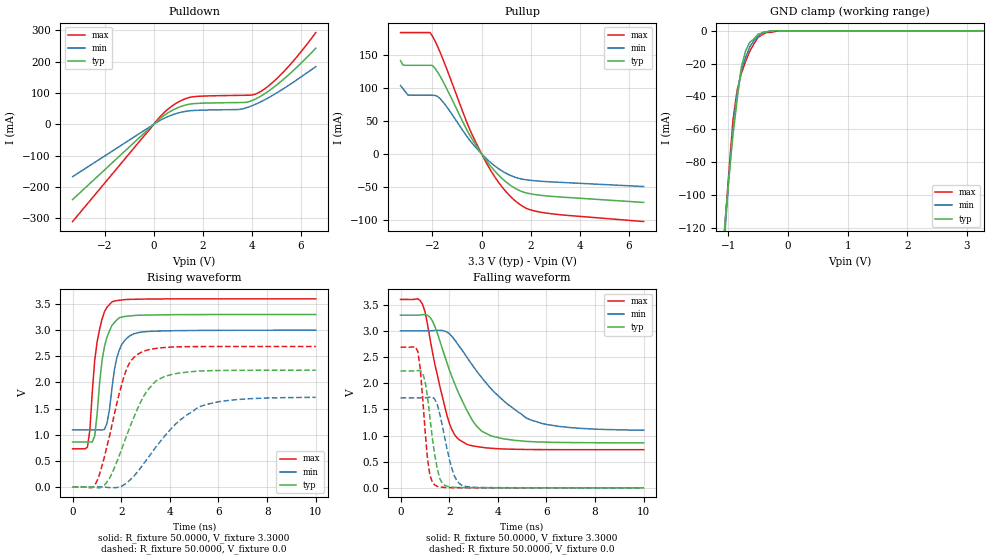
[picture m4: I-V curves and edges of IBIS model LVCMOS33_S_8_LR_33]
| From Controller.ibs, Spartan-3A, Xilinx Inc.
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|   Model LVCMOS33_S_8_LR_33
[Model]  LVCMOS33_S_8_LR_33
Model_type I/O
Polarity   Non-Inverting
Enable   Active-Low
Vinl =   0.8000V
Vinh =   2.0000V
Vmeas =  1.6500V
Cref =   0.0F
Rref =   1.0000M
Vref =   0.0V
C_comp   6.5640pF   6.1748pF   7.0674pF
[Temperature Range]   27.0000   85.0000   0.0
[Voltage Range]   3.3000V   3.0000V   3.6000V
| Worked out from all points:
|   slope of the pulldown table from 0 to 0.495 V, typ, clamps not added: 15.3 ohm
|   slope of the pullup table from 0 to 0.495 V, typ, clamps not added: 20.3 ohm
|   GND clamp passes 1 mA (typ) near -0.38 V on its own axis
|   rising waveform, R_fixture 50.0000, V_fixture 3.3000: 20-80 % time 385ps typ, 406ps min, 374ps max; typ from 0.86 V to 3.3 V
|   rising waveform, R_fixture 50.0000, V_fixture 0.0: 20-80 % time 1.2ns typ, 1.92ns min, 853ps max; typ from 0 V to 2.23 V
|   falling waveform, R_fixture 50.0000, V_fixture 3.3000: 20-80 % time 1.27ns typ, 2.2ns min, 816ps max; typ from 3.3 V to 0.86 V
|   falling waveform, R_fixture 50.0000, V_fixture 0.0: 20-80 % time 384ps typ, 495ps min, 280ps max; typ from 2.23 V to 0 V
[Pulldown]
|Voltage   I(typ)   I(min)   I(max)
-3.3V     -240.1mA   -167.1mA   -310.4mA
200mV     14.57mA    9.891mA    19.24mA
700mV     42.25mA    28.64mA    55.8mA
1.2V      59.52mA    40.02mA    78.9mA
1.6V      65.99mA    44.18mA    88.04mA
3.5V      69.7mA     47.88mA    92.59mA
3.9V      72.94mA    56.35mA    93.18mA
4.3V      87.34mA    69.76mA    102.4mA
4.8V      113.2mA    90.68mA    130.9mA
5.3V      144.7mA    114.7mA    168.6mA
5.9V      187.8mA    146mA      222.2mA
6.6V      243.2mA    184.3mA    293.1mA
[Pullup]
|Voltage   I(typ)   I(min)   I(max)
-3.3V     140.7mA    103.2mA    183.2mA
-3.2V     134.1mA    98.39mA    183.2mA
-3V       133.8mA    88.85mA    183.2mA
-2.1V     133.8mA    88.49mA    183.2mA
-2V       133.4mA    88.49mA    177.9mA
-1.6V     111.3mA    79.64mA    145.4mA
-600mV    36.16mA    26.33mA    47.45mA
0V        14pA       70pA       10pA
700mV     -32.61mA   -22.77mA   -43.62mA
1.5V      -54.81mA   -37.04mA   -75.06mA
2.6V      -63.56mA   -42.02mA   -89.51mA
6.6V      -73.58mA   -49.56mA   -102.5mA
[GND_clamp]
|Voltage   I(typ)   I(min)   I(max)
-3.3V     -1.34A     -1.43A     -1.52A
-1.06V    -119.5mA   -126.2mA   -121mA
-990mV    -90.2mA    -89.8mA    -86.5mA
-920mV    -63.3mA    -60mA      -54.4mA
-850mV    -41.9mA    -37.7mA    -36mA
-780mV    -22mA      -24mA      -25.9mA
-710mV    -12.3mA    -16.3mA    -18.8mA
-640mV    -7mA       -9.8mA     -12.5mA
-500mV    -2mA       -3.5mA     -4mA
-430mV    -1.4mA     -1mA       -2.3mA
-150mV    0A         0A         0A
3.28V     0A         0A         0A
[POWER_clamp]
|Voltage   I(typ)   I(min)   I(max)
-3.28V    0A         0A         0A
-3.24V    0A         0A         0A
-3.2V     0A         0A         0A
0V        0A         0A         0A
[Ramp]
dV/dt_r  1.3404/1.1915n   1.0284/1.9009n   1.6128/0.8427n
dV/dt_f  1.4639/1.2618n   1.1394/2.1789n   1.7227/0.8061n
R_load = 50.0000
[Rising Waveform]
R_fixture= 50.0000
V_fixture= 3.3000
V_fixture_min= 3.0000
V_fixture_max= 3.6000
|time   V(typ)   V(min)   V(max)
0s        859.8mV    1.092V     729.2mV
610ps     859.8mV    1.092V     760mV
710ps     858.4mV    1.092V     1.087V
910ps     975.1mV    1.092V     2.427V
1.21ns    2.42V      1.088V     3.211V
1.41ns    2.86V      1.21V      3.437V
1.62ns    3.092V     1.895V     3.542V
1.92ns    3.238V     2.619V     3.572V
2.53ns    3.279V     2.932V     3.591V
10ns      3.299V     2.999V     3.599V
[Rising Waveform]
R_fixture= 50.0000
V_fixture= 0.0
|time   V(typ)   V(min)   V(max)
0s        0V         0V         0V
810ps     -2.595mV   -2.067uV   -12.98mV
1.01ns    -16.56mV   4.842uV    120.3mV
1.52ns    168.8mV    -12.87mV   977.7mV
2.12ns    853mV      41.92mV    2.124V
2.42ns    1.224V     158.9mV    2.426V
2.73ns    1.559V     323mV      2.554V
3.43ns    2.027V     766.1mV    2.651V
5.15ns    2.215V     1.521V     2.686V
10ns      2.234V     1.714V     2.688V
[Falling Waveform]
R_fixture= 50.0000
V_fixture= 3.3000
V_fixture_min= 3.0000
V_fixture_max= 3.6000
|time   V(typ)   V(min)   V(max)
0s        3.3V       3V         3.6V
710ps     3.299V     3V         3.611V
910ps     3.311V     3V         3.503V
1.31ns    3.193V     3.003V     2.601V
1.92ns    2.374V     2.974V     1.366V
2.42ns    1.776V     2.701V     917.2mV
3.33ns    1.086V     2.113V     776mV
5.25ns    885.9mV    1.317V     732.7mV
6.87ns    865.9mV    1.157V     729.5mV
10ns      860.2mV    1.101V     728.9mV
[Falling Waveform]
R_fixture= 50.0000
V_fixture= 0.0
|time   V(typ)   V(min)   V(max)
0s        2.234V     1.718V     2.688V
710ps     2.24V      1.718V     2.607V
910ps     2.194V     1.718V     1.725V
1.11ns    1.745V     1.724V     550.7mV
1.21ns    1.345V     1.734V     240.5mV
1.41ns    615.6mV    1.692V     51.87mV
1.72ns    85.31mV    1.189V     11.36mV
2.12ns    13.36mV    354.8mV    3.449mV
2.53ns    5.518mV    49.54mV    1.645mV
10ns      4.604uV    47.92uV    36.24uV
